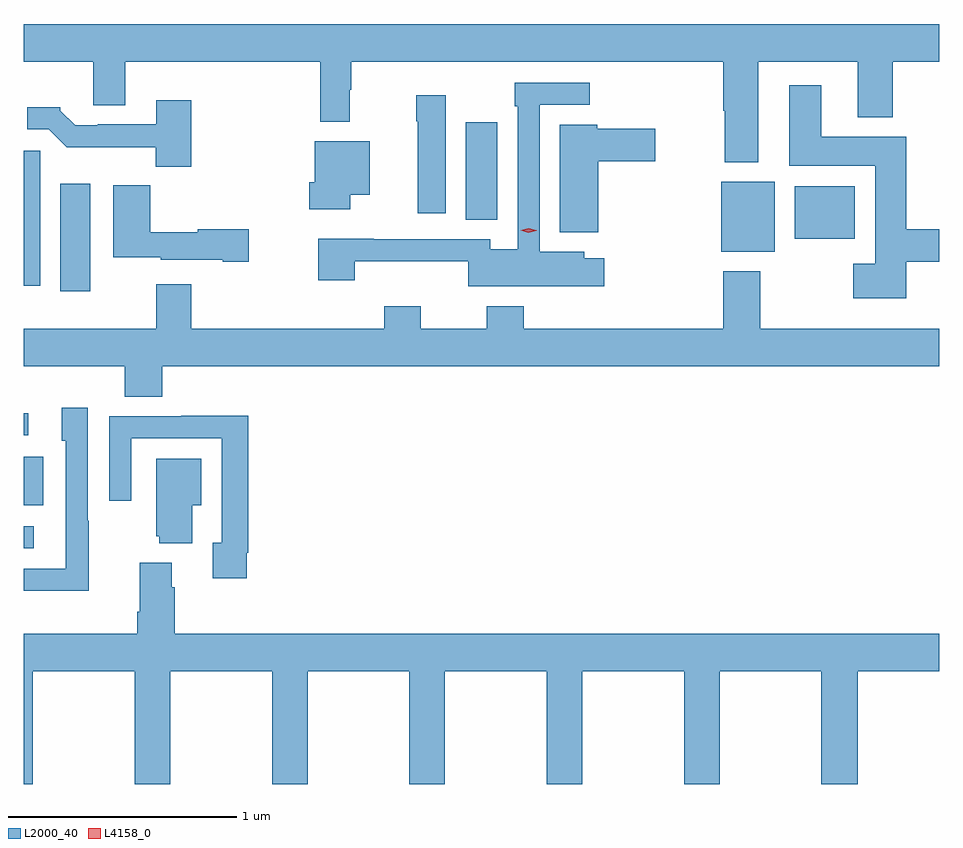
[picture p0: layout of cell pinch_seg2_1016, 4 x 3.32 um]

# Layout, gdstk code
import gdstk
lib = gdstk.Library(unit=1e-6, precision=1e-09)
def R(c, l, rs):  # rectangles x0, y0, x1, y1
    for r in rs: c.add(gdstk.rectangle(r[:2], r[2:], *l))
def P(c, l, *ps):  # polygons
    for p in ps: c.add(gdstk.Polygon(p, *l))
L2000_40 = (2000, 40)
L4158_0 = (4158, 0)

pinch_seg2_1016 = lib.new_cell('pinch_seg2_1016')
R(pinch_seg2_1016, L2000_40, [(324.146,608.214,324.19,608.31), (324.146,608.402,324.232,608.614), (324.146,608.706,324.166,608.804), (324.305,609.336,324.436,609.805), (324.146,609.36,324.217,609.951), (327.194,609.509,327.427,609.814), (327.515,609.566,327.778,609.796), (326.078,609.649,326.215,610.075)])
P(pinch_seg2_1016, L2000_40, [(327.355,610.34),(327.791,610.34),(327.791,610.097),(327.944,610.097),(327.944,610.34),(328.146,610.34),(328.146,610.504),(324.146,610.504),(324.146,610.34),(324.449,610.34),(324.449,610.15),(324.589,610.15),(324.589,610.34),(325.441,610.34),(325.441,610.077),(325.57,610.077),(325.57,610.217),(325.577,610.217),(325.577,610.34),(327.203,610.34),(327.203,610.125),(327.208,610.125),(327.208,609.899),(327.355,609.899)],
  [(326.683,609.481),(326.595,609.481),(326.595,609.508),(326.4,609.508),(326.4,610.152),(326.62,610.152),(326.62,610.248),(326.292,610.248),(326.292,610.145),(326.304,610.145),(326.304,609.52),(326.184,609.52),(326.184,609.564),(325.675,609.564),(325.675,609.565),(325.432,609.565),(325.432,609.384),(325.592,609.384),(325.592,609.467),(326.088,609.467),(326.088,609.359),(326.683,609.359)],
  [(328.001,609.466),(328.146,609.466),(328.146,609.608),(328.001,609.608),(328.001,610.012),(327.631,610.012),(327.631,610.237),(327.491,610.237),(327.491,609.884),(327.866,609.884),(327.866,609.457),(327.771,609.457),(327.771,609.305),(328.001,609.305)],
  [(325.99,610.192),(325.861,610.192),(325.861,610.079),(325.868,610.079),(325.868,609.678),(325.99,609.678)],
  [(324.878,610.171),(324.725,610.171),(324.725,610.065),(324.469,610.065),(324.469,610.062),(324.37,610.062),(324.306,610.126),(324.306,610.141),(324.162,610.141),(324.162,610.044),(324.255,610.044),(324.334,609.966),(324.723,609.966),(324.723,609.881),(324.878,609.881)],
  [(326.656,609.905),(326.905,609.905),(326.905,610.047),(326.652,610.047),(326.652,610.063),(326.489,610.063),(326.489,609.593),(326.656,609.593)],
  [(325.572,609.758),(325.657,609.758),(325.657,609.991),(325.418,609.991),(325.418,609.813),(325.394,609.813),(325.394,609.695),(325.572,609.695)],
  [(325.129,609.608),(324.906,609.608),(324.906,609.595),(324.698,609.595),(324.698,609.799),(324.536,609.799),(324.536,609.485),(324.744,609.485),(324.744,609.473),(325.016,609.473),(325.016,609.466),(325.129,609.466)],
  [(324.752,609.008),(328.146,609.008),(328.146,609.172),(327.363,609.172),(327.363,609.424),(327.203,609.424),(327.203,609.172),(326.33,609.172),(326.33,609.271),(326.17,609.271),(326.17,609.172),(325.881,609.172),(325.881,609.271),(325.721,609.271),(325.721,609.172),(324.878,609.172),(324.878,609.367),(324.725,609.367),(324.725,609.172),(324.146,609.172),(324.146,609.008),(324.587,609.008),(324.587,608.875),(324.752,608.875)],
  [(324.429,608.333),(324.426,608.333),(324.426,608.827),(324.311,608.827),(324.311,608.682),(324.33,608.682),(324.33,608.357),(324.329,608.357),(324.329,608.124),(324.146,608.124),(324.146,608.027),(324.429,608.027)],
  [(325.12,608.194),(325.127,608.194),(325.127,608.792),(324.835,608.792),(324.835,608.79),(324.519,608.79),(324.519,608.421),(324.615,608.421),(324.615,608.694),(325.011,608.694),(325.011,608.238),(324.971,608.238),(324.971,608.082),(325.12,608.082)],
  [(324.883,608.402),(324.922,608.402),(324.922,608.605),(324.725,608.605),(324.725,608.265),(324.737,608.265),(324.737,608.234),(324.883,608.234)],
  [(324.186,607.676),(324.631,607.676),(324.631,607.183),(324.786,607.183),(324.786,607.676),(325.231,607.676),(325.231,607.183),(325.386,607.183),(325.386,607.676),(325.831,607.676),(325.831,607.183),(325.986,607.183),(325.986,607.676),(326.431,607.676),(326.431,607.183),(326.586,607.183),(326.586,607.676),(327.031,607.676),(327.031,607.183),(327.186,607.183),(327.186,607.676),(327.631,607.676),(327.631,607.183),(327.791,607.183),(327.791,607.676),(328.146,607.676),(328.146,607.84),(324.806,607.84),(324.806,608.042),(324.793,608.042),(324.793,608.149),(324.653,608.149),(324.653,607.936),(324.641,607.936),(324.641,607.84),(324.146,607.84),(324.146,607.183),(324.186,607.183)])
P(pinch_seg2_1016, L4158_0, [(326.351,609.592),(326.317,609.602),(326.316,609.602),(326.317,609.602),(326.352,609.612),(326.386,609.602),(326.387,609.602),(326.386,609.601)])

lib.write_gds('pinch_seg2_1016.gds')
